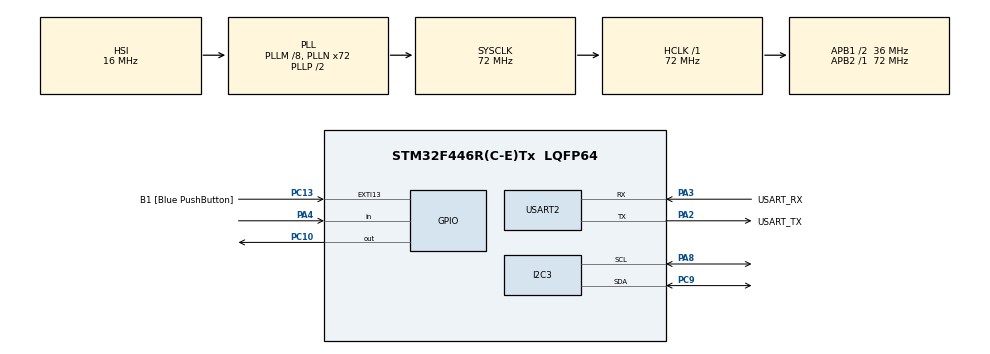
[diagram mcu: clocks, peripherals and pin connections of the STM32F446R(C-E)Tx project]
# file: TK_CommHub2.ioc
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Mcu.Family=STM32F4
Mcu.Name=STM32F446R(C-E)Tx
Mcu.Package=LQFP64
NVIC.PriorityGroup=NVIC_PRIORITYGROUP_0
PA13.GPIO_Label=TMS
PA13.Mode=Serial_Wire
PA13.Signal=SYS_JTMS-SWDIO
PA14.GPIO_Label=TCK
PA14.Mode=Serial_Wire
PA14.Signal=SYS_JTCK-SWCLK
PA2.GPIO_Label=USART_TX
PA2.Mode=Asynchronous
PA2.Signal=USART2_TX
PA3.GPIO_Label=USART_RX
PA3.Mode=Asynchronous
PA3.Signal=USART2_RX
PA4.GPIO_PuPd=GPIO_PULLUP
PA4.Signal=GPIO_Input
PA8.Mode=I2C
PA8.Signal=I2C3_SCL
PB3.GPIO_Label=SWO
PB3.Signal=SYS_JTDO-SWO
PC10.Signal=GPIO_Output
PC13.GPIO_Label=B1 [Blue PushButton]
PC13.GPIO_ModeDefaultEXTI=GPIO_MODE_IT_FALLING
PC13.Signal=GPXTI13
PC14-OSC32_IN.Mode=LSE-External-Oscillator
PC14-OSC32_IN.Signal=RCC_OSC32_IN
PC15-OSC32_OUT.Mode=LSE-External-Oscillator
PC15-OSC32_OUT.Signal=RCC_OSC32_OUT
PC9.Mode=I2C
PC9.Signal=I2C3_SDA
PH0-OSC_IN.Mode=HSE-External-Oscillator
PH0-OSC_IN.Signal=RCC_OSC_IN
PH1-OSC_OUT.Mode=HSE-External-Oscillator
PH1-OSC_OUT.Signal=RCC_OSC_OUT
ProjectManager.HeapSize=0x200
ProjectManager.StackSize=0x400
ProjectManager.TargetToolchain=STM32CubeIDE
RCC.48MHZClocksFreq_Value=84000000
RCC.AHBFreq_Value=72000000
RCC.APB1CLKDivider=RCC_HCLK_DIV2
RCC.APB1Freq_Value=36000000
RCC.APB1TimFreq_Value=72000000
RCC.APB2Freq_Value=72000000
RCC.APB2TimFreq_Value=72000000
RCC.CortexFreq_Value=72000000
RCC.FLatency-AdvancedSettings=FLASH_LATENCY_2
RCC.HCLKFreq_Value=72000000
RCC.HSE_VALUE=8000000
RCC.HSI_VALUE=16000000
RCC.PLLM=8
RCC.PLLN=72
RCC.SYSCLKFreq_VALUE=72000000
RCC.SYSCLKSource=RCC_SYSCLKSOURCE_PLLCLK
RCC.USBFreq_Value=72000000
RCC.VCOOutputFreq_Value=144000000
USART2.VirtualMode=VM_ASYNC
board=NUCLEO-F446RE

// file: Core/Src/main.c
/* USER CODE BEGIN Header */
/**
  ******************************************************************************
  * @file           : main.c
  * @brief          : Main program body
  ******************************************************************************
  * @attention
  *
  * Copyright (c) 2025 STMicroelectronics.
  * All rights reserved.
  *
  * This software is licensed under terms that can be found in the LICENSE file
  * in the root directory of this software component.
  * If no LICENSE file comes with this software, it is provided AS-IS.
  *
  ******************************************************************************
  */
/* USER CODE END Header */
#include "main.h"

I2C_HandleTypeDef hi2c3;

UART_HandleTypeDef huart2;

/* USER CODE BEGIN PV */
uint16_t led_count = 0x0000;
/* USER CODE END PV */

void SystemClock_Config(void);
static void MX_GPIO_Init(void);
static void MX_USART2_UART_Init(void);
static void MX_I2C3_Init(void);

/* USER CODE BEGIN 0 */
uint8_t GPIO_ReadPin_Filter(GPIO_TypeDef* GPIOx, uint16_t GPIO_Pin)
{
	static uint8_t pin_value = 1;
	static uint8_t pin_buffer = 0xff;

	pin_buffer = pin_buffer << 1;
	if(HAL_GPIO_ReadPin(GPIOx, GPIO_Pin) == GPIO_PIN_SET)
	{
		pin_buffer ++;
	}

	if((pin_value == 1) && (pin_buffer == 0x00))
	{
		pin_value = 0;
	}
	else if((pin_value == 0) && (pin_buffer == 0xff)){
		pin_value = 1;
	}

	return pin_value;
}

HAL_I2C_StateTypeDef write_reg(uint8_t sys_adr, uint8_t reg_adr, uint8_t size, uint8_t* pData)
{
	uint8_t data_buff[size+1];
	for(int i = 1; i<=size; i++)
	{
		data_buff[i] = *pData;
		pData++;
	}
	data_buff[0] = reg_adr;

	HAL_I2C_StateTypeDef tx_status = HAL_I2C_Master_Transmit(&hi2c3, (sys_adr<<1), data_buff, size+1, 1000);
	return tx_status;
}

HAL_I2C_StateTypeDef read_reg(uint8_t sys_adr, uint8_t reg_adr, uint8_t size, uint8_t* pData)
{
	if(HAL_I2C_Master_Transmit(&hi2c3, (sys_adr<<1), &reg_adr, 1, 1000) != HAL_OK)
	{
		return HAL_ERROR;
	}

	return HAL_I2C_Master_Receive(&hi2c3, (sys_adr<<1), pData, size, 1000);
}

uint8_t enable_system(uint8_t sys_adr, int timeout_calls)
{
	uint8_t tx_data[4];
	uint8_t rx_data[4];
	uint8_t count = 0;
	led_count = 0xFFFF;

	//Check that the PowManager is active
	while(read_reg(sys_adr, 1, 1, rx_data) != HAL_OK)
	{
		if(count == timeout_calls) return 0;
		count ++;
		HAL_Delay(500);
	}

	//If PowManager running enable power mode (Mode1)
	tx_data[0] = 0x04;
	write_reg(sys_adr, 1, 1, tx_data);

	//Pol for valid voltage after the system is turned on
	count = 0;
	do
	{
		if(count == 20) return 0;
		HAL_Delay(500);
		read_reg(sys_adr, 1, 1, rx_data);
		count ++;
	}while((rx_data[0] & 0x02) == 0);

	//Enable the voltage mode afterwards (Mode1 - ENB)
	tx_data[0] = 0x05;
	write_reg(sys_adr, 1, 1, tx_data);

	return 1;
}

uint8_t disable_system(uint8_t sys_adr)
{
	uint8_t tx_data = 0;
	if(write_reg(sys_adr,1,1,&tx_data) == HAL_OK)
	{
		led_count = 0x00FF;
		return 1;
	}
	else return 0;
}

uint8_t discharge_system(uint8_t sys_adr)
{
	uint8_t tx_data = 0x08;
	if(write_reg(sys_adr,1,1,&tx_data) == HAL_OK)
	{
		led_count = 0xCCCC;
		return 1;
	}
	else return 0;
}

float read_voltage(uint8_t sys_adr)
{
	uint8_t rx_data[2];

	read_reg(sys_adr,3,2,rx_data);

	return (float) ((rx_data[1] << 8) + rx_data[0]) * 3.3/4095 * 10560/560;
}

/* USER CODE END 0 */

int main(void)
{

  /* MCU Configuration--------------------------------------------------------*/

  /* Reset of all peripherals, Initializes the Flash interface and the Systick. */
  HAL_Init();

  /* USER CODE BEGIN Init */
  uint8_t loop_valid = 0;
  int dis_voltage_val = 0;
  uint8_t switch_state = 1;
  /* USER CODE END Init */

  /* Configure the system clock */
  SystemClock_Config();

  /* Initialize all configured peripherals */
  MX_GPIO_Init();
  MX_USART2_UART_Init();
  MX_I2C3_Init();

  /* Infinite loop */
  /* USER CODE BEGIN WHILE */
  while (1)
  {
	  // Read Main-Switch State
	  switch_state = GPIO_ReadPin_Filter(GPIOA, GPIO_PIN_4);

	  //Main Switch state control
	  if((loop_valid == 0) && (switch_state == 0))
	  	{
	  		enable_system(0x03, 10);
	  		loop_valid = 1;
	  	}
	  	else if((loop_valid == 1) && (switch_state == 1))
	  	{
	  		disable_system(0x03);
	  		loop_valid = 2;
	  	}
	  	else if((loop_valid == 2) && (switch_state == 0))
	  	{
	  		discharge_system(0x03);
	  		loop_valid = 3;
	  	}
	  	else if((loop_valid == 3) && ((switch_state == 1) || (dis_voltage_val == 1)))
	  	{
	  		disable_system(0x03);
	  		loop_valid = 4;
	  		dis_voltage_val = 0;
	  	}
	  	else if((loop_valid == 4 ) && (switch_state == 1))
	  	{
	  		loop_valid = 0;
	  		led_count = 0x0000;
	  	}

	  //Led blinking system
	  	if((led_count & 0x01) == 0)
	  	{
	  		HAL_GPIO_WritePin(GPIOC, GPIO_PIN_10, GPIO_PIN_RESET);
	  		led_count = led_count >> 1;
	  	}
	  	else
	  	{
	  		HAL_GPIO_WritePin(GPIOC, GPIO_PIN_10, GPIO_PIN_SET);
	  		led_count = 0x8000 | (led_count >> 1);
	  	}

	  	//Voltage read
	  	if(loop_valid == 3)
	  	{
	  		if(read_voltage(0x03) < 3.00)
	  		{
	  			dis_voltage_val = 1;
	  		}
	  	}

	  	HAL_Delay(200);
    /* USER CODE END WHILE */

  }
}

void SystemClock_Config(void)
{
  RCC_OscInitTypeDef RCC_OscInitStruct = {0};
  RCC_ClkInitTypeDef RCC_ClkInitStruct = {0};

  /** Configure the main internal regulator output voltage
  */
  __HAL_RCC_PWR_CLK_ENABLE();
  __HAL_PWR_VOLTAGESCALING_CONFIG(PWR_REGULATOR_VOLTAGE_SCALE3);

  /** Initializes the RCC Oscillators according to the specified parameters
  * in the RCC_OscInitTypeDef structure.
  */
  RCC_OscInitStruct.OscillatorType = RCC_OSCILLATORTYPE_HSI;
  RCC_OscInitStruct.HSIState = RCC_HSI_ON;
  RCC_OscInitStruct.HSICalibrationValue = RCC_HSICALIBRATION_DEFAULT;
  RCC_OscInitStruct.PLL.PLLState = RCC_PLL_ON;
  RCC_OscInitStruct.PLL.PLLSource = RCC_PLLSOURCE_HSI;
  RCC_OscInitStruct.PLL.PLLM = 8;
  RCC_OscInitStruct.PLL.PLLN = 72;
  RCC_OscInitStruct.PLL.PLLP = RCC_PLLP_DIV2;
  RCC_OscInitStruct.PLL.PLLQ = 2;
  RCC_OscInitStruct.PLL.PLLR = 2;
  if (HAL_RCC_OscConfig(&RCC_OscInitStruct) != HAL_OK)
  {
    Error_Handler();
  }

  /** Initializes the CPU, AHB and APB buses clocks
  */
  RCC_ClkInitStruct.ClockType = RCC_CLOCKTYPE_HCLK|RCC_CLOCKTYPE_SYSCLK
                              |RCC_CLOCKTYPE_PCLK1|RCC_CLOCKTYPE_PCLK2;
  RCC_ClkInitStruct.SYSCLKSource = RCC_SYSCLKSOURCE_PLLCLK;
  RCC_ClkInitStruct.AHBCLKDivider = RCC_SYSCLK_DIV1;
  RCC_ClkInitStruct.APB1CLKDivider = RCC_HCLK_DIV2;
  RCC_ClkInitStruct.APB2CLKDivider = RCC_HCLK_DIV1;

  if (HAL_RCC_ClockConfig(&RCC_ClkInitStruct, FLASH_LATENCY_2) != HAL_OK)
  {
    Error_Handler();
  }
}

static void MX_I2C3_Init(void)
{

  hi2c3.Instance = I2C3;
  hi2c3.Init.ClockSpeed = 100000;
  hi2c3.Init.DutyCycle = I2C_DUTYCYCLE_2;
  hi2c3.Init.OwnAddress1 = 0;
  hi2c3.Init.AddressingMode = I2C_ADDRESSINGMODE_7BIT;
  hi2c3.Init.DualAddressMode = I2C_DUALADDRESS_DISABLE;
  hi2c3.Init.OwnAddress2 = 0;
  hi2c3.Init.GeneralCallMode = I2C_GENERALCALL_DISABLE;
  hi2c3.Init.NoStretchMode = I2C_NOSTRETCH_DISABLE;
  if (HAL_I2C_Init(&hi2c3) != HAL_OK)
  {
    Error_Handler();
  }

}

static void MX_USART2_UART_Init(void)
{

  huart2.Instance = USART2;
  huart2.Init.BaudRate = 115200;
  huart2.Init.WordLength = UART_WORDLENGTH_8B;
  huart2.Init.StopBits = UART_STOPBITS_1;
  huart2.Init.Parity = UART_PARITY_NONE;
  huart2.Init.Mode = UART_MODE_TX_RX;
  huart2.Init.HwFlowCtl = UART_HWCONTROL_NONE;
  huart2.Init.OverSampling = UART_OVERSAMPLING_16;
  if (HAL_UART_Init(&huart2) != HAL_OK)
  {
    Error_Handler();
  }

}

static void MX_GPIO_Init(void)
{
  GPIO_InitTypeDef GPIO_InitStruct = {0};

  /* GPIO Ports Clock Enable */
  __HAL_RCC_GPIOC_CLK_ENABLE();
  __HAL_RCC_GPIOH_CLK_ENABLE();
  __HAL_RCC_GPIOA_CLK_ENABLE();
  __HAL_RCC_GPIOB_CLK_ENABLE();

  /*Configure GPIO pin Output Level */
  HAL_GPIO_WritePin(GPIOC, GPIO_PIN_10, GPIO_PIN_RESET);

  /*Configure GPIO pin : B1_Pin */
  GPIO_InitStruct.Pin = B1_Pin;
  GPIO_InitStruct.Mode = GPIO_MODE_IT_FALLING;
  GPIO_InitStruct.Pull = GPIO_NOPULL;
  HAL_GPIO_Init(B1_GPIO_Port, &GPIO_InitStruct);

  /*Configure GPIO pin : PA4 */
  GPIO_InitStruct.Pin = GPIO_PIN_4;
  GPIO_InitStruct.Mode = GPIO_MODE_INPUT;
  GPIO_InitStruct.Pull = GPIO_PULLUP;
  HAL_GPIO_Init(GPIOA, &GPIO_InitStruct);

  /*Configure GPIO pin : PC10 */
  GPIO_InitStruct.Pin = GPIO_PIN_10;
  GPIO_InitStruct.Mode = GPIO_MODE_OUTPUT_PP;
  GPIO_InitStruct.Pull = GPIO_NOPULL;
  GPIO_InitStruct.Speed = GPIO_SPEED_FREQ_LOW;
  HAL_GPIO_Init(GPIOC, &GPIO_InitStruct);

}

void Error_Handler(void)
{
  __disable_irq();
  while (1)
  {
  }
}
